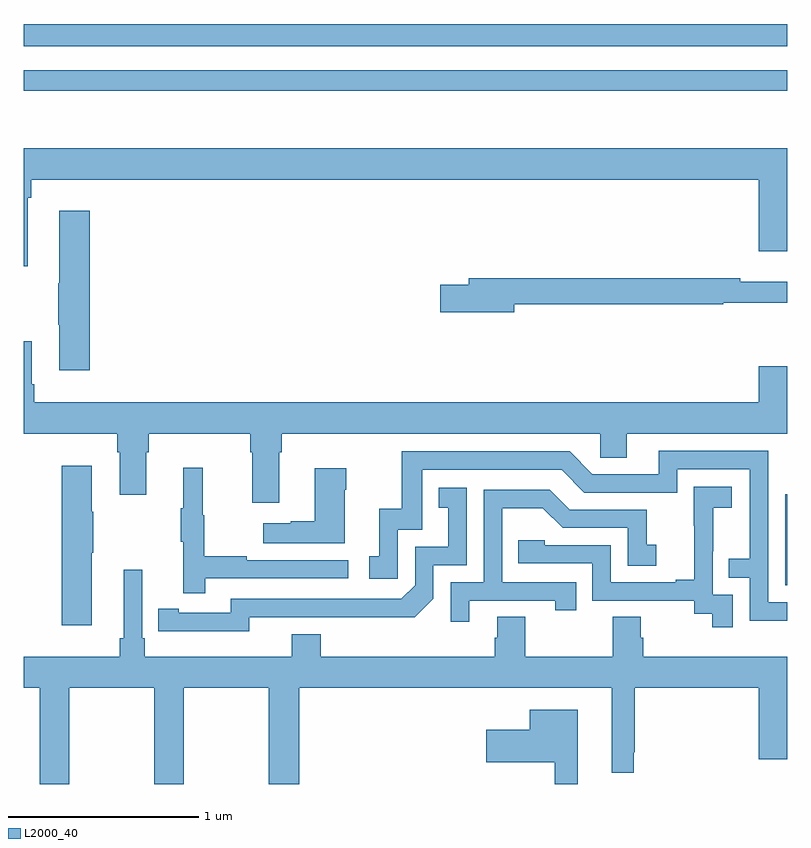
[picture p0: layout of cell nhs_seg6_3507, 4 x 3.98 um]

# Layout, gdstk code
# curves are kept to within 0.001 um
import gdstk
lib = gdstk.Library(unit=1e-6, precision=1e-09)
def R(c, l, rs):  # rectangles x0, y0, x1, y1
    for r in rs: c.add(gdstk.rectangle(r[:2], r[2:], *l))
def P(c, l, *ps):  # polygons
    for p in ps: c.add(gdstk.Polygon(p, *l))
L2000_40 = (2000, 40)

nhs_seg6_3507 = lib.new_cell('nhs_seg6_3507')
R(nhs_seg6_3507, L2000_40, [(320.991,946.542,321,947.019), (317,949.134,321,949.242), (317,949.368,321,949.484)])
P(nhs_seg6_3507, L2000_40, [(317.02,948.572),(317.039,948.572),(317.039,948.668),(320.852,948.668),(320.852,948.294),(321,948.294),(321,948.832),(317,948.832),(317,948.213),(317.02,948.213)],
  [(317.345,948.505),(317.186,948.505),(317.186,948.125),(317.179,948.125),(317.179,947.908),(317.186,947.908),(317.186,947.67),(317.345,947.67)],
  [(319.57,948.016),(320.666,948.016),(320.666,948.024),(321,948.024),(321,948.133),(320.756,948.133),(320.756,948.152),(319.331,948.152),(319.331,948.116),(319.182,948.116),(319.182,947.974),(319.57,947.974)],
  [(318.337,947.24),(318.35,947.24),(318.35,947.336),(320.022,947.336),(320.022,947.209),(320.161,947.209),(320.161,947.336),(321,947.336),(321,947.689),(320.852,947.689),(320.852,947.5),(317.054,947.5),(317.054,947.596),(317.041,947.596),(317.041,947.821),(317,947.821),(317,947.336),(317.489,947.336),(317.489,947.24),(317.501,947.24),(317.501,947.016),(317.641,947.016),(317.641,947.24),(317.654,947.24),(317.654,947.336),(318.185,947.336),(318.185,947.24),(318.197,947.24),(318.197,946.974),(318.337,946.974)],
  [(321,946.452),(320.901,946.452),(320.901,947.247),(320.327,947.247),(320.327,947.124),(319.98,947.124),(319.86,947.244),(318.981,947.244),(318.981,946.942),(318.863,946.942),(318.863,946.695),(318.81,946.695),(318.81,946.575),(318.96,946.575),(318.96,946.833),(319.089,946.833),(319.089,947.148),(319.818,947.148),(319.938,947.028),(320.424,947.028),(320.424,947.151),(320.805,947.151),(320.805,946.682),(320.695,946.682),(320.695,946.581),(320.805,946.581),(320.805,946.356),(321,946.356)],
  [(317.356,946.711),(317.364,946.711),(317.364,946.928),(317.356,946.928),(317.356,947.167),(317.198,947.167),(317.198,946.332),(317.356,946.332)],
  [(317.951,946.578),(318.7,946.578),(318.7,946.674),(318.167,946.674),(318.167,946.694),(317.944,946.694),(317.944,946.908),(317.936,946.908),(317.936,947.158),(317.834,947.158),(317.834,946.945),(317.823,946.945),(317.823,946.771),(317.834,946.771),(317.834,946.5),(317.951,946.5)],
  [(318.682,947.042),(318.69,947.042),(318.69,947.155),(318.524,947.155),(318.524,946.877),(318.398,946.877),(318.398,946.867),(318.255,946.867),(318.255,946.763),(318.682,946.763)],
  [(320.715,946.491),(320.61,946.491),(320.61,946.721),(320.612,946.721),(320.612,946.949),(320.71,946.949),(320.71,947.059),(320.512,947.059),(320.512,946.853),(320.513,946.853),(320.513,946.57),(320.417,946.57),(320.417,946.557),(320.076,946.557),(320.076,946.752),(319.731,946.752),(319.731,946.779),(319.591,946.779),(319.591,946.656),(319.98,946.656),(319.98,946.461),(320.514,946.461),(320.514,946.393),(320.607,946.393),(320.607,946.323),(320.715,946.323)],
  [(318.18,946.374),(319.048,946.373),(319.146,946.47),(319.146,946.647),(319.32,946.647),(319.32,947.053),(319.174,947.053),(319.174,946.947),(319.223,946.947),(319.223,946.743),(319.05,946.743),(319.05,946.542),(318.978,946.47),(318.084,946.47),(318.084,946.398),(317.812,946.398),(317.812,946.418),(317.704,946.418),(317.704,946.302),(318.18,946.301)],
  [(319.333,946.461),(319.784,946.461),(319.784,946.41),(319.895,946.41),(319.895,946.557),(319.506,946.557),(319.506,946.946),(319.72,946.946),(319.824,946.842),(320.166,946.842),(320.166,946.644),(320.314,946.644),(320.314,946.753),(320.265,946.753),(320.265,946.938),(319.861,946.938),(319.756,947.043),(319.41,947.043),(319.41,946.557),(319.236,946.557),(319.236,946.35),(319.333,946.35)],
  [(317.238,946.004),(317.683,946.004),(317.683,945.5),(317.838,945.5),(317.838,946.004),(318.283,946.004),(318.283,945.5),(318.443,945.5),(318.443,946.004),(320.081,946.004),(320.081,945.56),(320.196,945.56),(320.196,945.667),(320.203,945.667),(320.203,946.004),(320.852,946.004),(320.852,945.63),(321,945.63),(321,946.168),(320.246,946.168),(320.246,946.266),(320.233,946.266),(320.233,946.376),(320.086,946.376),(320.086,946.168),(319.629,946.168),(319.629,946.376),(319.481,946.376),(319.481,946.266),(319.469,946.266),(319.469,946.168),(318.557,946.168),(318.557,946.285),(318.404,946.285),(318.404,946.168),(317.633,946.168),(317.633,946.264),(317.619,946.264),(317.619,946.624),(317.522,946.624),(317.522,946.264),(317.503,946.264),(317.503,946.168),(317,946.168),(317,946.004),(317.083,946.004),(317.083,945.5),(317.238,945.5)],
  [(319.903,945.889),(319.652,945.889),(319.652,945.784),(319.422,945.784),(319.422,945.614),(319.782,945.614),(319.782,945.5),(319.903,945.5)])

lib.write_gds('nhs_seg6_3507.gds')
